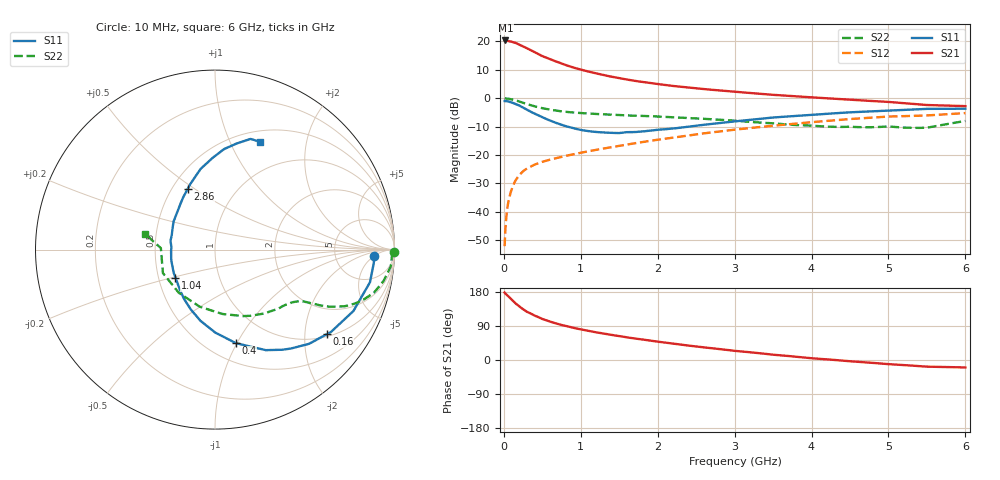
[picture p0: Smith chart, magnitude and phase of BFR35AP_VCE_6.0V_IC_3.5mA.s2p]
! Infineon Technologies  Discrete & RF Semiconductors
! BFR35AP
! VCE =  6.0 V,  IC =  3.5 mA
! Common Emitter S-Parameters:  Nov 2015
# GHz  S  MA  R  50
!  f  S11  S21  S12  S22
! GHz  MAG  ANG  MAG  ANG  MAG  ANG  MAG  ANG
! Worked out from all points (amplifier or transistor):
!   210 points, 10 MHz to 6 GHz, reference 50 ohm
!   highest |S21| = 20.3 dB at 20 MHz (marker M1)
!   |S21| within 3 dB of that: start of sweep to 319.8 MHz
!   unconditionally stable (mu >= 1): 963.4 MHz to 3.345 GHz
!   at 185 MHz: K = 0.30, MSG = 23.3 dB, |S12| = -27.6 dB
!   at 1.52 GHz: K = 1.12, MAG = 9.7 dB, |S12| = -16.7 dB
!   at 6 GHz: K = 0.93, MSG = 1.2 dB, |S12| = -5.3 dB
!   S11 on the Smith chart (normalised r, x): 10 MHz: 15, -5; 160 MHz: 1.07, -2.59; 400 MHz: 0.68, -0.99; 1.04 GHz: 0.61, -0.21; 2.86 GHz: 0.60, +0.47; 6 GHz: 0.63, +1.31
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0.01  0.889 -2.4  10.19 177.9  0.0025 91.8  0.9963 -0.9
0.02  0.8874 -5.1  10.32 175.4  0.0049 90.2  0.9861 -2.2
0.05  0.8824 -11.9  10.18 169.6  0.0129 82.2  0.9837 -5.5
0.1  0.8437 -23.9  9.814 159.9  0.0246 76.9  0.955 -10.6
0.15  0.7928 -35.3  9.393 149.5  0.0354 70.4  0.9171 -15.2
0.16  0.7809 -37.1  9.249 148.0  0.0371 69.4  0.9082 -15.9
0.2  0.742 -45.0  8.738 141.6  0.0442 66.4  0.8737 -18.6
0.26  0.6723 -56.1  7.999 132.6  0.0531 62.1  0.8207 -21.9
0.3  0.6276 -63.2  7.548 127.2  0.058 60.1  0.7862 -23.7
0.4  0.534 -77.4  6.425 117.2  0.0678 55.9  0.716 -26.4
0.5  0.4629 -89.7  5.481 108.3  0.0759 54.3  0.6649 -27.9
0.64  0.3848 -105.5  4.616 98.8  0.0855 53.2  0.6155 -29.1
0.8  0.3233 -122.5  3.837 89.7  0.0963 53.2  0.5748 -30.2
1.02  0.2733 -142.5  3.122 80.1  0.1109 53.7  0.545 -31.9
1.04  0.2705 -144.5  3.074 79.3  0.1123 53.8  0.543 -32.1
1.4  0.2454 -177.0  2.379 66.2  0.1372 54.8  0.5121 -35.9
2.02  0.2795 145.2  1.756 47.9  0.1875 54.2  0.4738 -45.1
2.86  0.372 114.0  1.345 27.5  0.2648 49.5  0.4137 -63.2
3.1  0.4019 108.4  1.265 22.4  0.2884 47.2  0.3918 -70.0
4.1  0.5211 90.0  1.014 3.2  0.3877 36.5  0.3216 -109.6
5.1  0.6125 77.0  0.837 -12.1  0.4781 22.4  0.3101 -160.6
6  0.6514 67.1  0.724 -19.6  0.546 11.5  0.3969 167.6
